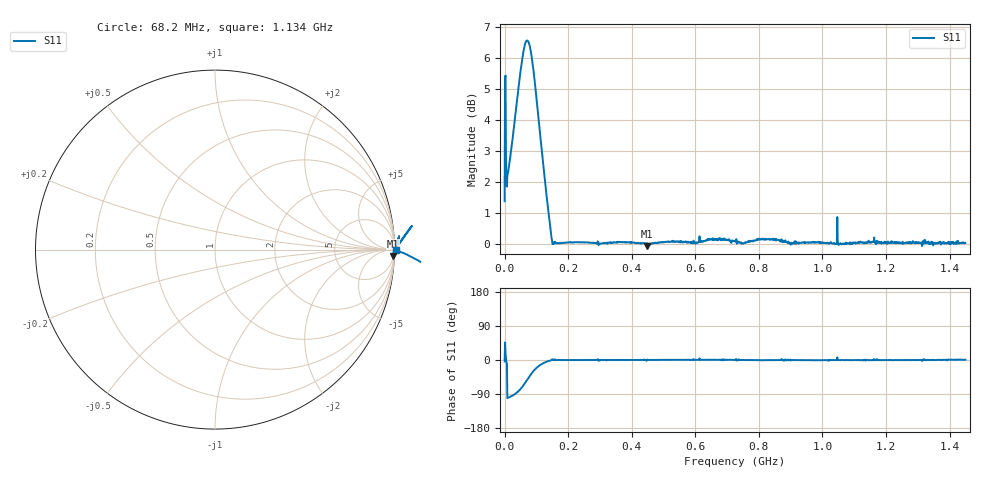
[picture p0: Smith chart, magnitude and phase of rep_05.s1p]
! Created with skrf 1.11.0 (http://scikit-rf.org).
# Hz S RI R 50.0
!freq ReS11 ImS11
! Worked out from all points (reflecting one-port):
!   1001 points, 50 kHz to 1.45 GHz, reference 50 ohm
!   lowest |S11| = -0.1 dB at 446.6 MHz (marker M1), VSWR 242.29, Z = 616 - j2.66e+03 ohm
!   phase of S11 starts at -4 deg and turns +5 deg over the sweep
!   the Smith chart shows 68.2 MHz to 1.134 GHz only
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50000  1.17 -0.0765
8749700  -0.2366 -1.267
1.019965e7  -0.2257 -1.279
1.16496e7  -0.2155 -1.294
1.599945e7  -0.1851 -1.346
2.759905e7  -0.0705 -1.515
3.77487e7  0.1017 -1.679
4.64484e7  0.3238 -1.809
5.659805e7  0.6859 -1.889
6.529775e7  1.062 -1.823
6.96476e7  1.242 -1.73
7.54474e7  1.448 -1.546
8.269715e7  1.609 -1.258
8.99469e7  1.666 -0.9634
9.86466e7  1.623 -0.662
1.058964e8  1.543 -0.4684
1.14596e8  1.424 -0.2973
1.247457e8  1.287 -0.1612
1.493948e8  1.013 0.0331
1.812938e8  1.004 -0.00172
3.625375e8  1.007 0.00105
4.466346e8  0.9911 -0.0354
5.437812e8  1.009 0.0087
7.25025e8  1.01 0.0042
9.062688e8  1.002 -0.00264
1.087512e9  1.006 -0.00821
1.268756e9  1.002 0.00248
1.45e9  1.004 0.0144
